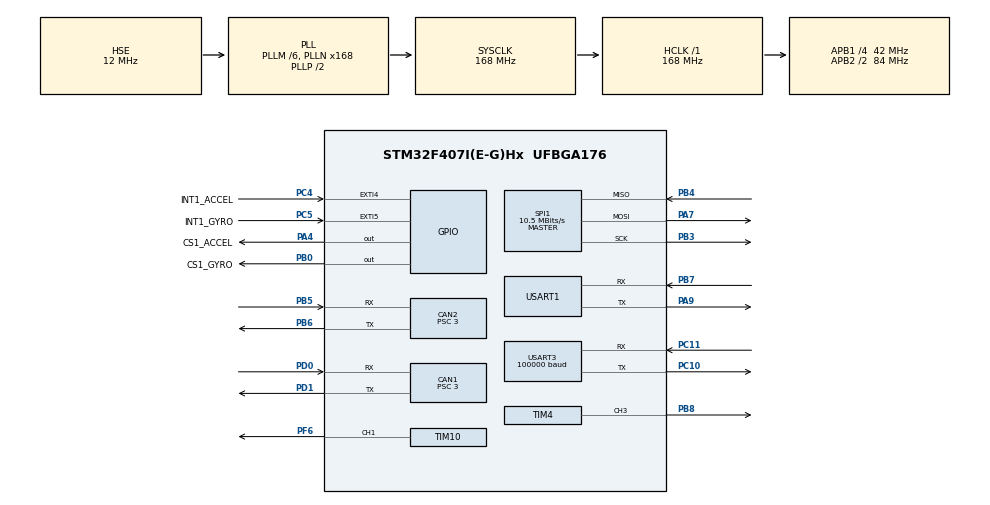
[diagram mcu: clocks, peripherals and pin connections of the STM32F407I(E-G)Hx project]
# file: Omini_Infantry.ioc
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CAN1.ABOM=ENABLE
CAN1.BS1=CAN_BS1_10TQ
CAN1.BS2=CAN_BS2_3TQ
CAN1.CalculateBaudRate=1000000
CAN1.CalculateTimeBit=1000
CAN1.CalculateTimeQuantum=71.42857142857143
CAN1.NART=ENABLE
CAN1.Prescaler=3
CAN2.ABOM=ENABLE
CAN2.BS1=CAN_BS1_10TQ
CAN2.BS2=CAN_BS2_3TQ
CAN2.CalculateBaudRate=1000000
CAN2.CalculateTimeBit=1000
CAN2.CalculateTimeQuantum=71.42857142857143
CAN2.Prescaler=3
Dma.Request0=USART1_RX
Dma.Request1=USART1_TX
Dma.Request2=USART3_RX
Dma.Request3=SPI1_RX
Dma.Request4=SPI1_TX
Dma.SPI1_RX.3.Direction=DMA_PERIPH_TO_MEMORY
Dma.SPI1_RX.3.FIFOMode=DMA_FIFOMODE_ENABLE
Dma.SPI1_RX.3.FIFOThreshold=DMA_FIFO_THRESHOLD_FULL
Dma.SPI1_RX.3.Instance=DMA2_Stream0
Dma.SPI1_RX.3.MemBurst=DMA_MBURST_SINGLE
Dma.SPI1_RX.3.MemDataAlignment=DMA_MDATAALIGN_BYTE
Dma.SPI1_RX.3.MemInc=DMA_MINC_ENABLE
Dma.SPI1_RX.3.Mode=DMA_NORMAL
Dma.SPI1_RX.3.PeriphBurst=DMA_PBURST_SINGLE
Dma.SPI1_RX.3.PeriphDataAlignment=DMA_PDATAALIGN_BYTE
Dma.SPI1_RX.3.PeriphInc=DMA_PINC_DISABLE
Dma.SPI1_RX.3.Priority=DMA_PRIORITY_LOW
Dma.SPI1_TX.4.Direction=DMA_MEMORY_TO_PERIPH
Dma.SPI1_TX.4.FIFOMode=DMA_FIFOMODE_DISABLE
Dma.SPI1_TX.4.Instance=DMA2_Stream3
Dma.SPI1_TX.4.MemDataAlignment=DMA_MDATAALIGN_BYTE
Dma.SPI1_TX.4.MemInc=DMA_MINC_ENABLE
Dma.SPI1_TX.4.Mode=DMA_NORMAL
Dma.SPI1_TX.4.PeriphDataAlignment=DMA_PDATAALIGN_BYTE
Dma.SPI1_TX.4.PeriphInc=DMA_PINC_DISABLE
Dma.SPI1_TX.4.Priority=DMA_PRIORITY_LOW
Dma.USART1_RX.0.Direction=DMA_PERIPH_TO_MEMORY
Dma.USART1_RX.0.FIFOMode=DMA_FIFOMODE_DISABLE
Dma.USART1_RX.0.Instance=DMA2_Stream2
Dma.USART1_RX.0.MemDataAlignment=DMA_MDATAALIGN_BYTE
Dma.USART1_RX.0.MemInc=DMA_MINC_ENABLE
Dma.USART1_RX.0.Mode=DMA_NORMAL
Dma.USART1_RX.0.PeriphDataAlignment=DMA_PDATAALIGN_BYTE
Dma.USART1_RX.0.PeriphInc=DMA_PINC_DISABLE
Dma.USART1_RX.0.Priority=DMA_PRIORITY_LOW
Dma.USART1_TX.1.Direction=DMA_MEMORY_TO_PERIPH
Dma.USART1_TX.1.FIFOMode=DMA_FIFOMODE_DISABLE
Dma.USART1_TX.1.Instance=DMA2_Stream7
Dma.USART1_TX.1.MemDataAlignment=DMA_MDATAALIGN_BYTE
Dma.USART1_TX.1.MemInc=DMA_MINC_ENABLE
Dma.USART1_TX.1.Mode=DMA_NORMAL
Dma.USART1_TX.1.PeriphDataAlignment=DMA_PDATAALIGN_BYTE
Dma.USART1_TX.1.PeriphInc=DMA_PINC_DISABLE
Dma.USART1_TX.1.Priority=DMA_PRIORITY_LOW
Dma.USART3_RX.2.Direction=DMA_PERIPH_TO_MEMORY
Dma.USART3_RX.2.FIFOMode=DMA_FIFOMODE_DISABLE
Dma.USART3_RX.2.Instance=DMA1_Stream1
Dma.USART3_RX.2.MemDataAlignment=DMA_MDATAALIGN_BYTE
Dma.USART3_RX.2.MemInc=DMA_MINC_ENABLE
Dma.USART3_RX.2.Mode=DMA_NORMAL
Dma.USART3_RX.2.PeriphDataAlignment=DMA_PDATAALIGN_BYTE
Dma.USART3_RX.2.PeriphInc=DMA_PINC_DISABLE
Dma.USART3_RX.2.Priority=DMA_PRIORITY_LOW
FREERTOS.Tasks01=_ChassisTask,24,256,_chassisTask,Default,NULL,Dynamic,NULL,NULL;_MotorTask,24,256,_motorTask,Default,NULL,Dynamic,NULL,NULL;_RobotCmdTask,24,256,_robotCmdTask,Default,NULL,Dynamic,NULL,NULL;_DaemonTask,24,128,_daemonTask,Default,NULL,Dynamic,NULL,NULL;_GimbalTask,24,256,_gimbalTask,Default,NULL,Dynamic,NULL,NULL;_INSTask,24,1024,INSTask,Default,NULL,Dynamic,NULL,NULL;_ShootTask,24,256,_shootTask,Default,NULL,Dynamic,NULL,NULL
FREERTOS.configENABLE_FPU=1
Mcu.Family=STM32F4
Mcu.Name=STM32F407I(E-G)Hx
Mcu.Package=UFBGA176
NVIC.CAN1_RX0_IRQn=true\:5\:0\:false\:false\:true\:true\:true\:true\:true
NVIC.CAN1_RX1_IRQn=true\:5\:0\:false\:false\:true\:true\:true\:true\:true
NVIC.CAN2_RX0_IRQn=true\:5\:0\:false\:false\:true\:true\:true\:true\:true
NVIC.CAN2_RX1_IRQn=true\:5\:0\:false\:false\:true\:true\:true\:true\:true
NVIC.DMA1_Stream1_IRQn=true\:5\:0\:false\:false\:true\:true\:false\:true\:true
NVIC.DMA2_Stream0_IRQn=true\:5\:0\:false\:false\:true\:true\:false\:true\:true
NVIC.DMA2_Stream2_IRQn=true\:5\:0\:false\:false\:true\:true\:false\:true\:true
NVIC.DMA2_Stream3_IRQn=true\:5\:0\:false\:false\:true\:true\:false\:true\:true
NVIC.DMA2_Stream7_IRQn=true\:5\:0\:false\:false\:true\:true\:false\:true\:true
NVIC.EXTI4_IRQn=true\:5\:0\:false\:false\:true\:true\:true\:true\:true
NVIC.EXTI9_5_IRQn=true\:5\:0\:false\:false\:true\:true\:true\:true\:true
NVIC.PriorityGroup=NVIC_PRIORITYGROUP_4
NVIC.TIM8_TRG_COM_TIM14_IRQn=true\:15\:0\:false\:false\:true\:false\:false\:true\:true
NVIC.TimeBase=TIM8_TRG_COM_TIM14_IRQn
NVIC.TimeBaseIP=TIM14
NVIC.USART1_IRQn=true\:5\:0\:false\:false\:true\:true\:true\:true\:true
NVIC.USART3_IRQn=true\:5\:0\:false\:false\:true\:true\:true\:true\:true
PA4.GPIO_Label=CS1_ACCEL
PA4.GPIO_PuPd=GPIO_PULLUP
PA4.GPIO_Speed=GPIO_SPEED_FREQ_HIGH
PA4.PinState=GPIO_PIN_SET
PA4.Signal=GPIO_Output
PA7.GPIO_PuPd=GPIO_PULLUP
PA7.Mode=Full_Duplex_Master
PA7.Signal=SPI1_MOSI
PA9.Mode=Asynchronous
PA9.Signal=USART1_TX
PB0.GPIO_Label=CS1_GYRO
PB0.GPIO_PuPd=GPIO_PULLUP
PB0.GPIO_Speed=GPIO_SPEED_FREQ_HIGH
PB0.PinState=GPIO_PIN_SET
PB0.Signal=GPIO_Output
PB3.GPIO_PuPd=GPIO_PULLUP
PB3.Mode=Full_Duplex_Master
PB3.Signal=SPI1_SCK
PB4.GPIO_PuPd=GPIO_PULLUP
PB4.Mode=Full_Duplex_Master
PB4.Signal=SPI1_MISO
PB5.Mode=CAN_Activate
PB5.Signal=CAN2_RX
PB6.Mode=CAN_Activate
PB6.Signal=CAN2_TX
PB7.Mode=Asynchronous
PB7.Signal=USART1_RX
PB8.Signal=S_TIM4_CH3
PC10.Mode=Asynchronous
PC10.Signal=USART3_TX
PC11.Mode=Asynchronous
PC11.Signal=USART3_RX
PC4.GPIO_Label=INT1_ACCEL
PC4.GPIO_ModeDefaultEXTI=GPIO_MODE_IT_FALLING
PC4.GPIO_PuPd=GPIO_PULLUP
PC4.Signal=GPXTI4
PC5.GPIO_Label=INT1_GYRO
PC5.GPIO_ModeDefaultEXTI=GPIO_MODE_IT_FALLING
PC5.GPIO_PuPd=GPIO_PULLUP
PC5.Signal=GPXTI5
PD0.Mode=CAN_Activate
PD0.Signal=CAN1_RX
PD1.Mode=CAN_Activate
PD1.Signal=CAN1_TX
PF6.Signal=S_TIM10_CH1
PH0-OSC_IN.Mode=HSE-External-Oscillator
PH0-OSC_IN.Signal=RCC_OSC_IN
PH1-OSC_OUT.Mode=HSE-External-Oscillator
PH1-OSC_OUT.Signal=RCC_OSC_OUT
ProjectManager.HeapSize=0x5000
ProjectManager.StackSize=0x5000
ProjectManager.TargetToolchain=Makefile
RCC.48MHZClocksFreq_Value=84000000
RCC.AHBFreq_Value=168000000
RCC.APB1CLKDivider=RCC_HCLK_DIV4
RCC.APB1Freq_Value=42000000
RCC.APB1TimFreq_Value=84000000
RCC.APB2CLKDivider=RCC_HCLK_DIV2
RCC.APB2Freq_Value=84000000
RCC.APB2TimFreq_Value=168000000
RCC.CortexFreq_Value=168000000
RCC.HCLKFreq_Value=168000000
RCC.HSE_VALUE=12000000
RCC.HSI_VALUE=16000000
RCC.LSE_VALUE=32768
RCC.PLLM=6
RCC.PLLN=168
RCC.PLLSourceVirtual=RCC_PLLSOURCE_HSE
RCC.SYSCLKFreq_VALUE=168000000
RCC.SYSCLKSource=RCC_SYSCLKSOURCE_PLLCLK
RCC.VCOOutputFreq_Value=336000000
SH.S_TIM10_CH1.0=TIM10_CH1,PWM Generation1 CH1
SH.S_TIM4_CH3.0=TIM4_CH3,PWM Generation3 CH3
SPI1.BaudRatePrescaler=SPI_BAUDRATEPRESCALER_8
SPI1.CLKPhase=SPI_PHASE_2EDGE
SPI1.CLKPolarity=SPI_POLARITY_HIGH
SPI1.CalculateBaudRate=10.5 MBits/s
SPI1.Direction=SPI_DIRECTION_2LINES
SPI1.Mode=SPI_MODE_MASTER
SPI1.VirtualType=VM_MASTER
STMicroelectronics.X-CUBE-ALGOBUILD.1.3.0.LibraryCcDSPOoLibraryJjDSPOoLibrary=true
TIM10.Channel=TIM_CHANNEL_1
TIM10.Period=2000-1
TIM10.Prescaler=84-1
TIM4.Channel-PWM\ Generation3\ CH3=TIM_CHANNEL_3
TIM4.Prescaler=168 - 1
TIM4.TIM_MasterSlaveMode=TIM_MASTERSLAVEMODE_DISABLE
USART1.VirtualMode=VM_ASYNC
USART3.BaudRate=100000
USART3.Mode=MODE_RX
USART3.Parity=PARITY_EVEN
USART3.VirtualMode=VM_ASYNC
USART3.WordLength=WORDLENGTH_9B
VP_FREERTOS_VS_CMSIS_V2.Mode=CMSIS_V2
VP_STMicroelectronics.X-CUBE-ALGOBUILD_VS_DSPOoLibraryJjLibrary_1.3.0_1.3.0.Mode=DSPOoLibraryJjLibrary
VP_SYS_VS_tim14.Mode=TIM14
VP_TIM10_VS_ClockSourceINT.Mode=Enable_Timer
VP_TIM4_VS_ClockSourceINT.Mode=Internal
board=custom

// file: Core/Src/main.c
/* USER CODE BEGIN Header */
/**
  ******************************************************************************
  * @file           : main.c
  * @brief          : Main program body
  ******************************************************************************
  * @attention
  *
  * Copyright (c) 2025 STMicroelectronics.
  * All rights reserved.
  *
  * This software is licensed under terms that can be found in the LICENSE file
  * in the root directory of this software component.
  * If no LICENSE file comes with this software, it is provided AS-IS.
  *
  ******************************************************************************
  */
/* USER CODE END Header */
#include "main.h"
#include "cmsis_os.h"
#include "can.h"
#include "dma.h"
#include "spi.h"
#include "tim.h"
#include "usart.h"
#include "gpio.h"

/* USER CODE BEGIN Includes */
#include "motor_task.h"
#include "chassis.h"
#include "robot_cmd.h"
#include "Gimbal.h"
#include "bsp_init.h"
#include "shoot.h"
/* USER CODE END Includes */

void SystemClock_Config(void);
void MX_FREERTOS_Init(void);

int main(void)
{

  /* MCU Configuration--------------------------------------------------------*/

  /* Reset of all peripherals, Initializes the Flash interface and the Systick. */
  HAL_Init();

  /* Configure the system clock */
  SystemClock_Config();

  /* Initialize all configured peripherals */
  MX_GPIO_Init();
  MX_DMA_Init();
  MX_CAN1_Init();
  MX_CAN2_Init();
  MX_USART1_UART_Init();
  MX_USART3_UART_Init();
  MX_SPI1_Init();
  MX_TIM10_Init();
  MX_TIM4_Init();
  /* USER CODE BEGIN 2 */
__disable_irq();
 BSPInit();
 ChassisInit();
 RobotCmdInit();
 GimbalInit();
 ShootInit();
__enable_irq();
  /* USER CODE END 2 */

  /* Init scheduler */
  osKernelInitialize();  /* Call init function for freertos objects (in freertos.c) */
  MX_FREERTOS_Init();

  /* Start scheduler */
  osKernelStart();
  /* We should never get here as control is now taken by the scheduler */
  /* Infinite loop */
  while (1)
  {

  }
}

void SystemClock_Config(void)
{
  RCC_OscInitTypeDef RCC_OscInitStruct = {0};
  RCC_ClkInitTypeDef RCC_ClkInitStruct = {0};

  /** Configure the main internal regulator output voltage
  */
  __HAL_RCC_PWR_CLK_ENABLE();
  __HAL_PWR_VOLTAGESCALING_CONFIG(PWR_REGULATOR_VOLTAGE_SCALE1);

  /** Initializes the RCC Oscillators according to the specified parameters
  * in the RCC_OscInitTypeDef structure.
  */
  RCC_OscInitStruct.OscillatorType = RCC_OSCILLATORTYPE_HSE;
  RCC_OscInitStruct.HSEState = RCC_HSE_ON;
  RCC_OscInitStruct.PLL.PLLState = RCC_PLL_ON;
  RCC_OscInitStruct.PLL.PLLSource = RCC_PLLSOURCE_HSE;
  RCC_OscInitStruct.PLL.PLLM = 6;
  RCC_OscInitStruct.PLL.PLLN = 168;
  RCC_OscInitStruct.PLL.PLLP = RCC_PLLP_DIV2;
  RCC_OscInitStruct.PLL.PLLQ = 4;
  if (HAL_RCC_OscConfig(&RCC_OscInitStruct) != HAL_OK)
  {
    Error_Handler();
  }

  /** Initializes the CPU, AHB and APB buses clocks
  */
  RCC_ClkInitStruct.ClockType = RCC_CLOCKTYPE_HCLK|RCC_CLOCKTYPE_SYSCLK
                              |RCC_CLOCKTYPE_PCLK1|RCC_CLOCKTYPE_PCLK2;
  RCC_ClkInitStruct.SYSCLKSource = RCC_SYSCLKSOURCE_PLLCLK;
  RCC_ClkInitStruct.AHBCLKDivider = RCC_SYSCLK_DIV1;
  RCC_ClkInitStruct.APB1CLKDivider = RCC_HCLK_DIV4;
  RCC_ClkInitStruct.APB2CLKDivider = RCC_HCLK_DIV2;

  if (HAL_RCC_ClockConfig(&RCC_ClkInitStruct, FLASH_LATENCY_5) != HAL_OK)
  {
    Error_Handler();
  }
}

void HAL_TIM_PeriodElapsedCallback(TIM_HandleTypeDef *htim)
{
  if (htim->Instance == TIM14) {
    HAL_IncTick();
  }
}

void Error_Handler(void)
{
  __disable_irq();
  while (1)
  {
  }
}

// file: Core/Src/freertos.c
/* USER CODE BEGIN Header */
/**
  ******************************************************************************
  * File Name          : freertos.c
  * Description        : Code for freertos applications
  ******************************************************************************
  * @attention
  *
  * Copyright (c) 2025 STMicroelectronics.
  * All rights reserved.
  *
  * This software is licensed under terms that can be found in the LICENSE file
  * in the root directory of this software component.
  * If no LICENSE file comes with this software, it is provided AS-IS.
  *
  ******************************************************************************
  */
/* USER CODE END Header */

#include "FreeRTOS.h"
#include "task.h"
#include "main.h"
#include "cmsis_os.h"

/* USER CODE BEGIN Includes */
#include "motor_task.h"
#include "chassis.h"
#include "robot_cmd.h"
#include "daemon.h"
#include "Gimbal.h"
#include "ins_task.h"
#include "shoot.h"
/* USER CODE END Includes */

/* USER CODE BEGIN Variables */
UBaseType_t GimbalLevel;
UBaseType_t MotorLevel;
UBaseType_t ChassisLevel;
UBaseType_t InsLevel;
/* USER CODE END Variables */
/* Definitions for _ChassisTask */
osThreadId_t _ChassisTaskHandle;
const osThreadAttr_t _ChassisTask_attributes = {
  .name = "_ChassisTask",
  .stack_size = 256 * 4,
  .priority = (osPriority_t) osPriorityNormal,
};
/* Definitions for _MotorTask */
osThreadId_t _MotorTaskHandle;
const osThreadAttr_t _MotorTask_attributes = {
  .name = "_MotorTask",
  .stack_size = 256 * 4,
  .priority = (osPriority_t) osPriorityNormal,
};
/* Definitions for _RobotCmdTask */
osThreadId_t _RobotCmdTaskHandle;
const osThreadAttr_t _RobotCmdTask_attributes = {
  .name = "_RobotCmdTask",
  .stack_size = 256 * 4,
  .priority = (osPriority_t) osPriorityNormal,
};
/* Definitions for _DaemonTask */
osThreadId_t _DaemonTaskHandle;
const osThreadAttr_t _DaemonTask_attributes = {
  .name = "_DaemonTask",
  .stack_size = 128 * 4,
  .priority = (osPriority_t) osPriorityNormal,
};
/* Definitions for _GimbalTask */
osThreadId_t _GimbalTaskHandle;
const osThreadAttr_t _GimbalTask_attributes = {
  .name = "_GimbalTask",
  .stack_size = 256 * 4,
  .priority = (osPriority_t) osPriorityNormal,
};
/* Definitions for _INSTask */
osThreadId_t _INSTaskHandle;
const osThreadAttr_t _INSTask_attributes = {
  .name = "_INSTask",
  .stack_size = 1024 * 4,
  .priority = (osPriority_t) osPriorityNormal,
};
/* Definitions for _ShootTask */
osThreadId_t _ShootTaskHandle;
const osThreadAttr_t _ShootTask_attributes = {
  .name = "_ShootTask",
  .stack_size = 256 * 4,
  .priority = (osPriority_t) osPriorityNormal,
};

void _chassisTask(void *argument);
void _motorTask(void *argument);
void _robotCmdTask(void *argument);
void _daemonTask(void *argument);
void _gimbalTask(void *argument);
void INSTask(void *argument);
void _shootTask(void *argument);

void MX_FREERTOS_Init(void); /* (MISRA C 2004 rule 8.1) */

void MX_FREERTOS_Init(void) {

  /* Create the thread(s) */
  /* creation of _ChassisTask */
  _ChassisTaskHandle = osThreadNew(_chassisTask, NULL, &_ChassisTask_attributes);

  /* creation of _MotorTask */
  _MotorTaskHandle = osThreadNew(_motorTask, NULL, &_MotorTask_attributes);

  /* creation of _RobotCmdTask */
  _RobotCmdTaskHandle = osThreadNew(_robotCmdTask, NULL, &_RobotCmdTask_attributes);

  /* creation of _DaemonTask */
  _DaemonTaskHandle = osThreadNew(_daemonTask, NULL, &_DaemonTask_attributes);

  /* creation of _GimbalTask */
  _GimbalTaskHandle = osThreadNew(_gimbalTask, NULL, &_GimbalTask_attributes);

  /* creation of _INSTask */
  _INSTaskHandle = osThreadNew(INSTask, NULL, &_INSTask_attributes);

  /* creation of _ShootTask */
  _ShootTaskHandle = osThreadNew(_shootTask, NULL, &_ShootTask_attributes);

}

void _chassisTask(void *argument)
{
  /* USER CODE BEGIN _chassisTask */
  /* Infinite loop */
  for(;;)
  {
    ChassisTask();
    osDelay(2);
  }
  /* USER CODE END _chassisTask */
}

void _motorTask(void *argument)
{
  /* USER CODE BEGIN _motorTask */
  /* Infinite loop */
  for(;;)
  {
    MotorControlTask();
    MotorLevel = uxTaskGetStackHighWaterMark(NULL);
    osDelay(1);
  }
  /* USER CODE END _motorTask */
}

void _robotCmdTask(void *argument)
{
  /* USER CODE BEGIN _robotCmdTask */
  /* Infinite loop */
  for(;;)
  {
    RobotCmdTask();
    osDelay(2);
  }
  /* USER CODE END _robotCmdTask */
}

void _daemonTask(void *argument)
{
  /* USER CODE BEGIN _daemonTask */
  /* Infinite loop */
  for(;;)
  {
    DaemonTask();
    osDelay(10);
  }
  /* USER CODE END _daemonTask */
}

void _gimbalTask(void *argument)
{
  /* USER CODE BEGIN _gimbalTask */
  /* Infinite loop */
  for(;;)
  {
    GimbalTask();
    GimbalLevel = uxTaskGetStackHighWaterMark(NULL);
    osDelay(1);
  }
  /* USER CODE END _gimbalTask */
}

void INSTask(void *argument)
{
  /* USER CODE BEGIN INSTask */
  /* Infinite loop */
  for(;;)
  {
    INS_Task();
    InsLevel = uxTaskGetStackHighWaterMark(NULL);
    osDelay(1);
  }
  /* USER CODE END INSTask */
}

void _shootTask(void *argument)
{
  /* USER CODE BEGIN _shootTask */
  /* Infinite loop */
  for(;;)
  {
    ShootTask();
    osDelay(1);
  }
  /* USER CODE END _shootTask */
}
